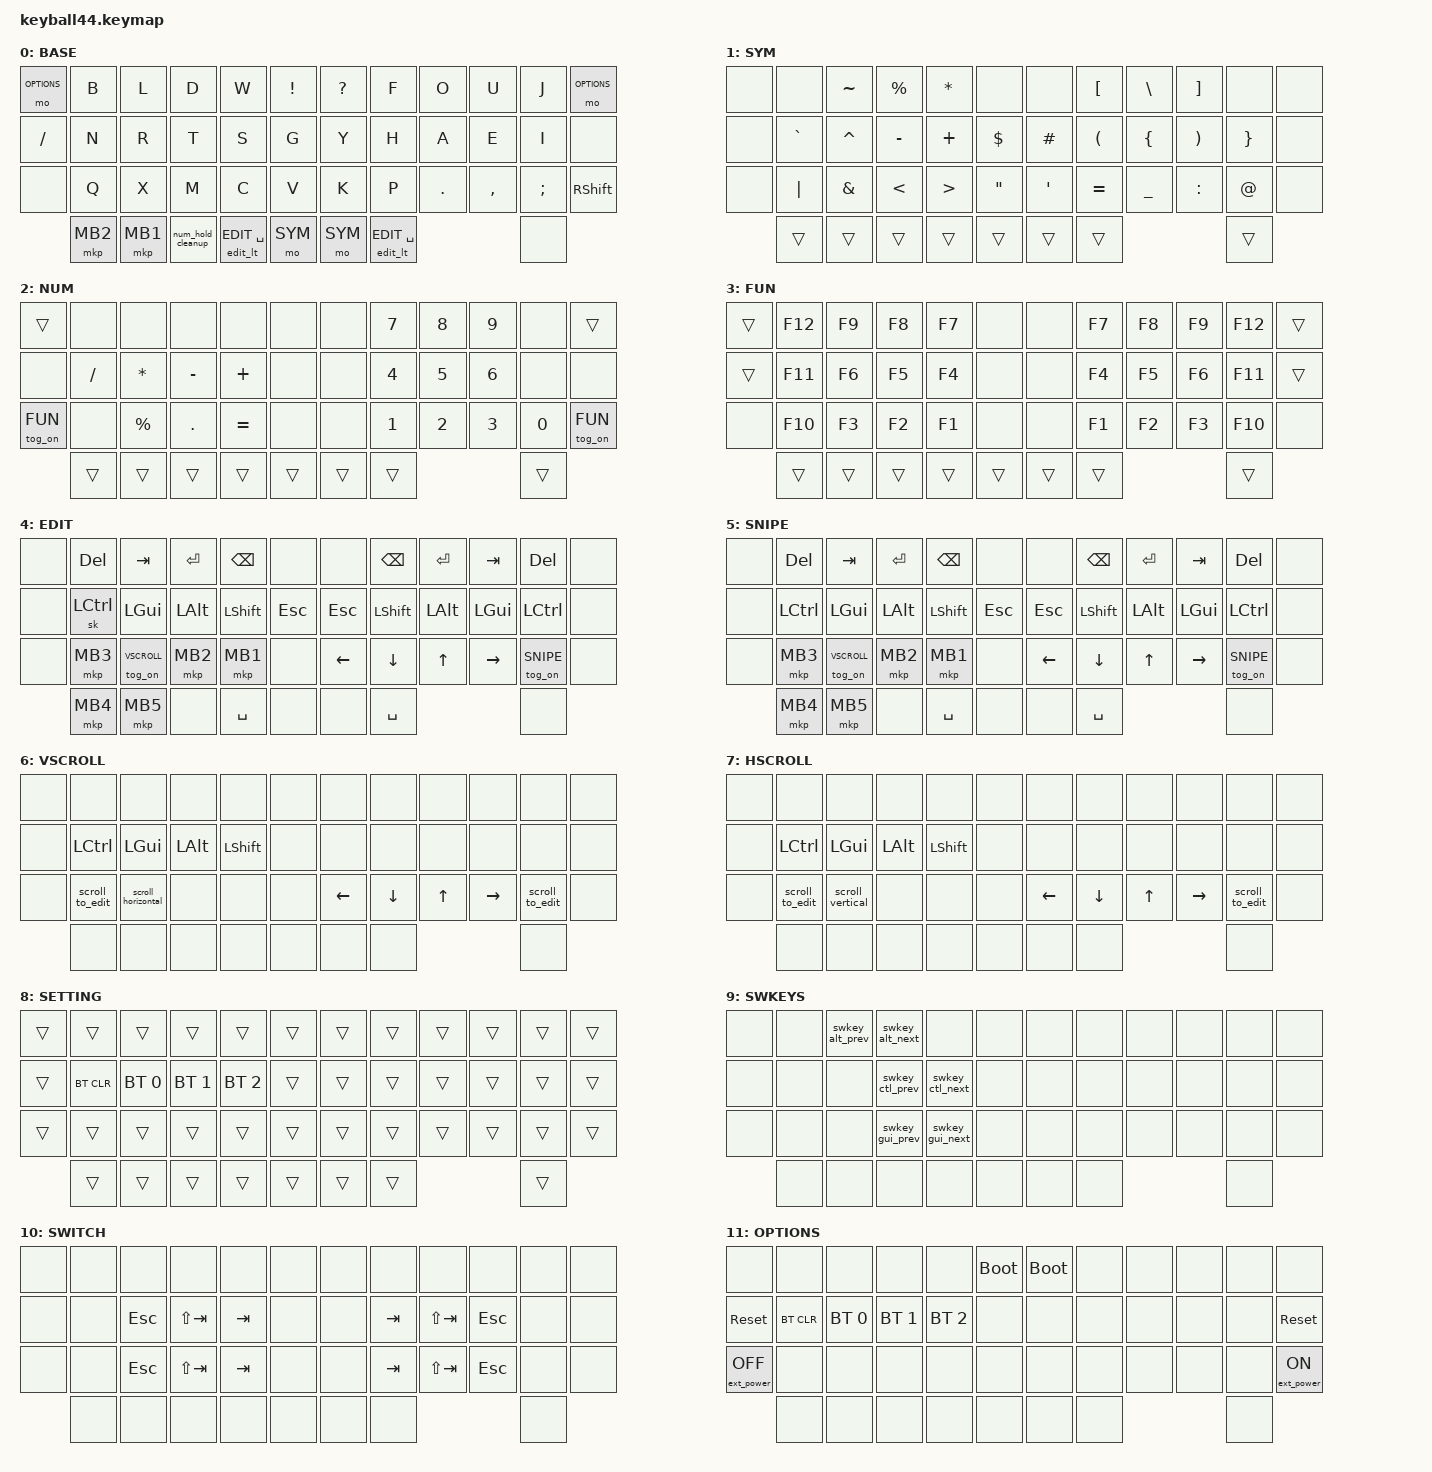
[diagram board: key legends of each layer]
#define DEFAULT 0
#define SYM     1
#define NUM     2
#define FUN     3
#define EDIT    4
#define SNIPE   5
#define VSCROLL 6
#define HSCROLL 7
#define SETTING 8
#define SWKEYS  9
#define SWITCH  10
#define OPTIONS 11

#include <behaviors/mouse_keys.dtsi>
#include <behaviors.dtsi>
#include <dt-bindings/zmk/bt.h>
#include <dt-bindings/zmk/keys.h>
#include <dt-bindings/zmk/mouse.h>
#include <dt-bindings/zmk/ext_power.h>
#include "behaviors.dtsi"
#include "combos.dtsi"

&lt {
    tapping-term-ms = <240>;
    flavor = "balanced";
    quick-tap-ms = <150>;
};

&mt {
    tapping-term-ms = <200>;
    flavor = "tap-preferred";
    quick-tap-ms = <150>;
};

/ {
    keymap {
        compatible = "zmk,keymap";

        default_layer {
            label = "BASE";
            bindings = <
                &mo OPTIONS  &kp B     &kp L     &kp D              &kp W                 &kp EXCL      /**/  &kp QUESTION  &kp F                &kp O    &kp U        &kp J       &mo OPTIONS
                &kp FSLH     &kp N     &kp R     &kp T              &kp S                 &kp G         /**/  &kp Y         &kp H                &kp A    &kp E        &kp I       &none
                &none        &kp Q     &kp X     &kp M              &kp C                 &kp V         /**/  &kp K         &kp P                &kp DOT  &kp COMMA    &kp SEMI    &kp RIGHT_SHIFT
                             &mkp MB2  &mkp MB1  &num_hold_cleanup  &edit_lt EDIT SPACE   &mo SYM       /**/  &mo SYM       &edit_lt EDIT SPACE                        &none
            >;
        };

        symbol_layer {
            label = "SYM";
            bindings = <
                &none  &none      &kp TILDE  &kp PRCNT  &kp ASTRK  &none     /**/  &none     &kp LBKT   &kp BSLH   &kp RBKT   &none     &none
                &none  &kp GRAVE  &kp CARET  &kp MINUS  &kp PLUS   &kp DLLR  /**/  &kp HASH  &kp LPAR   &kp LBRC   &kp RPAR   &kp RBRC  &none
                &none  &kp PIPE   &kp AMPS   &kp LT     &kp GT     &kp DQT   /**/  &kp SQT   &kp EQUAL  &kp UNDER  &kp COLON  &kp AT    &none
                       &trans     &trans     &trans     &trans     &trans    /**/  &trans    &trans                           &trans
            >;
        };

        number_layer {
            label = "NUM";
            bindings = <
                &trans        &none     &none      &none      &none      &none   /**/  &none   &kp NUMBER_7  &kp NUMBER_8  &kp NUMBER_9  &none         &trans
                &none         &kp FSLH  &kp ASTRK  &kp MINUS  &kp PLUS   &none   /**/  &none   &kp NUMBER_4  &kp NUMBER_5  &kp NUMBER_6  &none         &none
                &tog_on FUN   &none     &kp PRCNT  &kp DOT    &kp EQUAL  &none   /**/  &none   &kp NUMBER_1  &kp NUMBER_2  &kp NUMBER_3  &kp NUMBER_0  &tog_on FUN
                              &trans    &trans     &trans     &trans     &trans  /**/  &trans  &trans                                    &trans
            >;
        };

        function_layer {
            label = "FUN";
            bindings = <
                &trans    &kp F12  &kp F9   &kp F8  &kp F7  &none    /**/  &none     &kp F7  &kp F8  &kp F9  &kp F12  &trans
                &trans    &kp F11  &kp F6   &kp F5  &kp F4  &none    /**/  &none     &kp F4  &kp F5  &kp F6  &kp F11  &trans
                &none     &kp F10  &kp F3   &kp F2  &kp F1  &none    /**/  &none     &kp F1  &kp F2  &kp F3  &kp F10  &none
                          &trans   &trans   &trans  &trans  &trans   /**/  &trans    &trans                  &trans
            >;
        };

        edit_layer {
            label = "EDIT";
            bindings = <
                &none  &kp DELETE  &kp TAB          &kp ENTER  &kp BACKSPACE  &none    /**/  &none     &kp BACKSPACE  &kp ENTER  &kp TAB    &kp DELETE     &none
                &none  &sk LCTRL   &kp LGUI         &kp LALT   &kp LSHIFT     &kp ESC  /**/  &kp ESC   &kp LSHIFT     &kp LALT   &kp LGUI   &kp LCTRL      &none
                &none  &mkp MB3    &tog_on VSCROLL  &mkp MB2   &mkp MB1       &none    /**/  &kp LEFT  &kp DOWN       &kp UP     &kp RIGHT  &tog_on SNIPE  &none
                       &mkp MB4    &mkp MB5         &none      &kp SPACE      &none    /**/  &none     &kp SPACE                            &none
            >;
        };

        snipe_layer {
            label = "SNIPE";
            bindings = <
                &none  &kp DELETE  &kp TAB          &kp ENTER  &kp BACKSPACE  &none    /**/  &none     &kp BACKSPACE  &kp ENTER  &kp TAB    &kp DELETE     &none
                &none  &kp LCTRL   &kp LGUI         &kp LALT   &kp LSHIFT     &kp ESC  /**/  &kp ESC   &kp LSHIFT     &kp LALT   &kp LGUI   &kp LCTRL      &none
                &none  &mkp MB3    &tog_on VSCROLL  &mkp MB2   &mkp MB1       &none    /**/  &kp LEFT  &kp DOWN       &kp UP     &kp RIGHT  &tog_on SNIPE  &none
                       &mkp MB4    &mkp MB5         &none      &kp SPACE      &none    /**/  &none     &kp SPACE                            &none
            >;
        };

        scroll_layer {
            label = "VSCROLL";
            bindings = <
                &none  &none            &none                &none     &none       &none  /**/  &none     &none     &none   &none      &none            &none
                &none  &kp LCTRL        &kp LGUI             &kp LALT  &kp LSHIFT  &none  /**/  &none     &none     &none   &none      &none            &none
                &none  &scroll_to_edit  &scroll_horizontal   &none     &none       &none  /**/  &kp LEFT  &kp DOWN  &kp UP  &kp RIGHT  &scroll_to_edit  &none
                       &none            &none                &none     &none       &none  /**/  &none     &none                        &none
            >;
        };

        horizontal_scroll_layer {
            label = "HSCROLL";
            bindings = <
                &none  &none            &none                &none     &none       &none  /**/  &none     &none     &none   &none      &none            &none
                &none  &kp LCTRL        &kp LGUI             &kp LALT  &kp LSHIFT  &none  /**/  &none     &none     &none   &none      &none            &none
                &none  &scroll_to_edit  &scroll_vertical     &none     &none       &none  /**/  &kp LEFT  &kp DOWN  &kp UP  &kp RIGHT  &scroll_to_edit  &none
                       &none            &none                &none     &none       &none  /**/  &none     &none                        &none
            >;
        };

        setting_layer {
            label = "SETTING";
            bindings = <
                &trans    &trans      &trans        &trans        &trans        &trans    /**/  &trans    &trans  &trans  &trans  &trans  &trans
                &trans    &bt BT_CLR  &bt BT_SEL 0  &bt BT_SEL 1  &bt BT_SEL 2  &trans    /**/  &trans    &trans  &trans  &trans  &trans  &trans
                &trans    &trans      &trans        &trans        &trans        &trans    /**/  &trans    &trans  &trans  &trans  &trans  &trans
                          &trans      &trans        &trans        &trans        &trans    /**/  &trans    &trans                  &trans
            >;
        };

        switch_keys_layer {
            label = "SWKEYS";
            bindings = <
                &none  &none  &swkey_alt_prev  &swkey_alt_next  &none  &none  /**/  &none  &none  &none  &none  &none  &none
                &none  &none  &none            &swkey_ctl_prev  &swkey_ctl_next  &none  /**/  &none  &none  &none  &none  &none  &none
                &none  &none  &none            &swkey_gui_prev  &swkey_gui_next  &none  /**/  &none  &none  &none  &none  &none  &none
                       &none  &none            &none            &none            &none  /**/  &none  &none                &none
            >;
        };

        switch_layer {
            label = "SWITCH";
            bindings = <
                &none    &none  &none       &none        &none    &none    /**/  &none    &none    &none        &none       &none  &none
                &none    &none  &kp ESCAPE  &kp LS(TAB)  &kp TAB  &none    /**/  &none    &kp TAB  &kp LS(TAB)  &kp ESCAPE  &none  &none
                &none    &none  &kp ESCAPE  &kp LS(TAB)  &kp TAB  &none    /**/  &none    &kp TAB  &kp LS(TAB)  &kp ESCAPE  &none  &none
                         &none  &none       &none        &none    &none    /**/  &none    &none                             &none
            >;
        };

        options_layer {
            label = "OPTIONS";
            bindings = <
                &none              &none      &none        &none        &none        &bootloader  /**/  &bootloader  &none  &none  &none  &none  &none
                &sys_reset         &bt BT_CLR &bt BT_SEL 0 &bt BT_SEL 1 &bt BT_SEL 2 &none        /**/  &none        &none  &none  &none  &none  &sys_reset
                &ext_power EP_OFF  &none      &none        &none        &none        &none        /**/  &none        &none  &none  &none  &none  &ext_power EP_ON
                                   &none      &none        &none        &none        &none        /**/  &none        &none                &none
            >;
        };

    };
};
